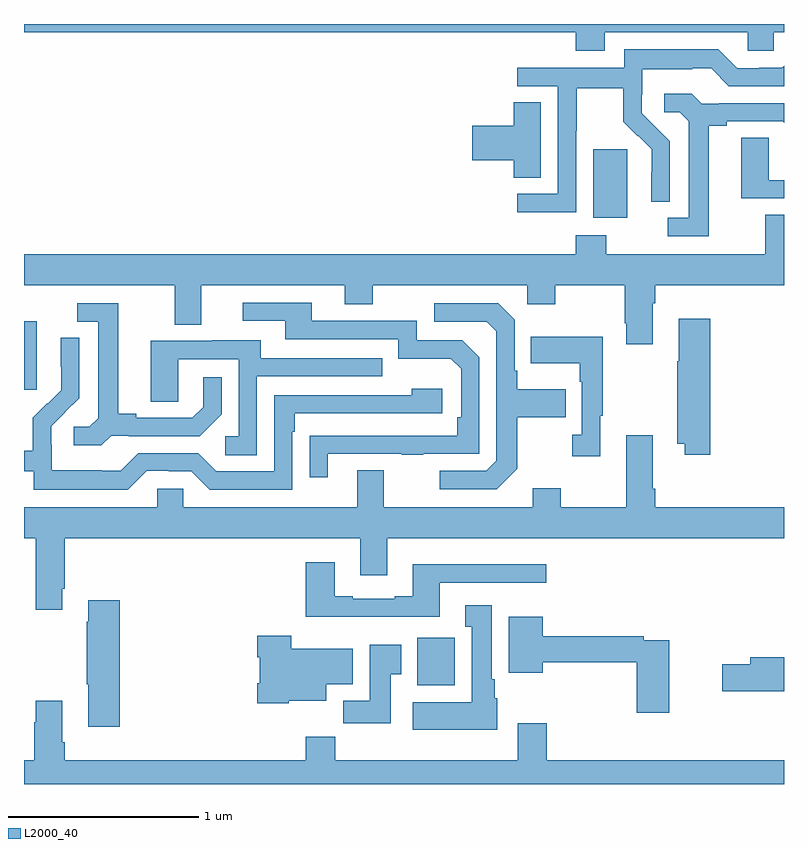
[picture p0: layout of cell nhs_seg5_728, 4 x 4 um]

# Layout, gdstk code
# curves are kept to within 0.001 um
import gdstk
lib = gdstk.Library(unit=1e-6, precision=1e-09)
def R(c, l, rs):  # rectangles x0, y0, x1, y1
    for r in rs: c.add(gdstk.rectangle(r[:2], r[2:], *l))
def P(c, l, *ps):  # polygons
    for p in ps: c.add(gdstk.Polygon(p, *l))
L2000_40 = (2000, 40)

nhs_seg5_728 = lib.new_cell('nhs_seg5_728')
R(nhs_seg5_728, L2000_40, [(159.071,857.318,159.267,857.569), (157,858.873,157.066,859.234), (159.995,859.778,160.174,860.139)])
P(nhs_seg5_728, L2000_40, [(160.057,860.756),(160.809,860.756),(160.809,860.658),(160.947,860.658),(160.947,860.756),(161,860.756),(161,860.799),(157,860.799),(157,860.756),(159.905,860.756),(159.905,860.657),(160.057,860.657)],
  [(159.906,860.236),(159.909,860.236),(159.909,860.46),(160.153,860.46),(160.153,860.285),(160.23,860.208),(160.233,860.211),(160.304,860.141),(160.304,860.018),(160.302,860.018),(160.302,859.864),(160.398,859.864),(160.398,860.182),(160.252,860.33),(160.252,860.427),(160.254,860.427),(160.254,860.561),(160.517,860.561),(160.517,860.565),(160.617,860.565),(160.71,860.472),(161,860.472),(161,860.579),(160.989,860.568),(160.871,860.568),(160.871,860.565),(160.755,860.565),(160.655,860.665),(160.158,860.665),(160.158,860.568),(159.597,860.568),(159.597,860.472),(159.81,860.472),(159.81,859.905),(159.597,859.905),(159.597,859.807),(159.906,859.807)],
  [(160.603,860.264),(160.699,860.264),(160.699,860.286),(160.994,860.286),(161,860.28),(161,860.382),(160.66,860.382),(160.66,860.379),(160.566,860.379),(160.514,860.431),(160.371,860.431),(160.371,860.334),(160.452,860.334),(160.499,860.287),(160.499,859.779),(160.389,859.779),(160.389,859.683),(160.603,859.683)],
  [(159.721,860.387),(159.578,860.387),(159.578,860.264),(159.36,860.264),(159.36,860.081),(159.578,860.081),(159.578,859.99),(159.721,859.99)],
  [(161,859.977),(160.92,859.977),(160.92,860.201),(160.775,860.201),(160.775,859.881),(161,859.881)],
  [(160.309,859.328),(160.322,859.328),(160.322,859.424),(161,859.424),(161,859.796),(160.901,859.796),(160.901,859.588),(160.065,859.588),(160.065,859.687),(159.905,859.687),(159.905,859.588),(157,859.588),(157,859.424),(157.793,859.424),(157.793,859.216),(157.933,859.216),(157.933,859.424),(158.687,859.424),(158.687,859.325),(158.835,859.325),(158.835,859.424),(159.648,859.424),(159.648,859.325),(159.795,859.325),(159.795,859.424),(160.162,859.424),(160.162,859.225),(160.169,859.225),(160.169,859.113),(160.309,859.113)],
  [(158.599,858.537),(158.989,858.537),(158.989,858.532),(159.101,858.532),(159.101,858.537),(159.396,858.537),(159.396,859.044),(159.306,859.134),(159.066,859.134),(159.066,859.236),(158.515,859.236),(158.515,859.332),(158.151,859.332),(158.151,859.236),(158.375,859.236),(158.375,859.14),(158.97,859.14),(158.97,859.037),(159.247,859.037),(159.3,858.984),(159.3,858.73),(159.28,858.73),(159.28,858.633),(158.503,858.632),(158.503,858.414),(158.599,858.414)],
  [(159.595,858.457),(159.595,858.73),(159.851,858.73),(159.851,858.877),(159.595,858.877),(159.595,858.973),(159.582,858.973),(159.582,859.242),(159.495,859.329),(159.159,859.329),(159.159,859.233),(159.435,859.233),(159.486,859.182),(159.486,858.501),(159.432,858.447),(159.189,858.447),(159.189,858.351),(159.489,858.351)],
  [(157.458,858.633),(157.552,858.633),(157.552,858.63),(157.924,858.63),(158.04,858.746),(158.04,858.94),(157.943,858.94),(157.943,858.783),(157.886,858.726),(157.591,858.726),(157.591,858.749),(157.495,858.749),(157.495,859.329),(157.281,859.329),(157.281,859.233),(157.391,859.233),(157.391,858.725),(157.344,858.678),(157.263,858.678),(157.263,858.581),(157.406,858.581)],
  [(160.613,859.249),(160.445,859.249),(160.445,859.025),(160.438,859.025),(160.438,858.59),(160.478,858.59),(160.478,858.531),(160.613,858.531)],
  [(160.033,858.737),(160.045,858.737),(160.045,859.153),(159.667,859.153),(159.667,859.013),(159.924,859.013),(159.924,858.917),(159.936,858.917),(159.936,858.638),(159.885,858.638),(159.885,858.525),(160.033,858.525)],
  [(157.647,858.447),(157.763,858.447),(157.763,858.444),(157.881,858.444),(157.977,858.348),(158.412,858.348),(158.412,858.653),(158.425,858.653),(158.425,858.75),(159.202,858.75),(159.202,858.88),(159.041,858.88),(159.041,858.846),(158.316,858.846),(158.316,858.444),(158.013,858.444),(157.917,858.54),(157.602,858.54),(157.509,858.447),(157.409,858.447),(157.409,858.451),(157.146,858.451),(157.146,858.585),(157.144,858.585),(157.144,858.682),(157.29,858.83),(157.29,859.148),(157.194,859.148),(157.194,858.994),(157.196,858.994),(157.196,858.872),(157.125,858.801),(157.122,858.804),(157.045,858.727),(157.045,858.553),(157,858.553),(157,858.444),(157.05,858.444),(157.05,858.347),(157.547,858.347)],
  [(158.226,858.945),(158.885,858.945),(158.885,859.041),(158.245,859.041),(158.245,859.135),(157.991,859.135),(157.991,859.131),(157.667,859.131),(157.667,858.811),(157.812,858.811),(157.812,859.035),(158.13,859.035),(158.13,858.63),(158.058,858.63),(158.058,858.529),(158.226,858.529)],
  [(157.201,857.827),(157.214,857.827),(157.214,858.092),(158.771,858.092),(158.771,857.898),(158.911,857.898),(158.911,858.092),(161,858.092),(161,858.256),(160.322,858.256),(160.322,858.352),(160.309,858.352),(160.309,858.634),(160.169,858.634),(160.169,858.256),(159.825,858.256),(159.825,858.355),(159.677,858.355),(159.677,858.256),(158.893,858.256),(158.893,858.451),(158.753,858.451),(158.753,858.256),(157.839,858.256),(157.839,858.354),(157.701,858.354),(157.701,858.256),(157,858.256),(157,858.092),(157.061,858.092),(157.061,857.715),(157.201,857.715)],
  [(159.187,857.859),(159.748,857.859),(159.748,857.956),(159.047,857.956),(159.047,857.788),(158.951,857.788),(158.951,857.775),(158.731,857.775),(158.731,857.788),(158.635,857.788),(158.635,857.965),(158.483,857.965),(158.483,857.678),(159.187,857.678)],
  [(157.505,857.767),(157.337,857.767),(157.337,857.654),(157.33,857.654),(157.33,857.323),(157.337,857.323),(157.337,857.1),(157.505,857.1)],
  [(159.49,857.25),(159.478,857.25),(159.478,857.35),(159.463,857.35),(159.463,857.74),(159.323,857.74),(159.323,857.627),(159.356,857.627),(159.356,857.23),(159.047,857.23),(159.047,857.084),(159.49,857.084)],
  [(160.396,857.556),(160.262,857.556),(160.262,857.576),(159.73,857.576),(159.73,857.68),(159.551,857.68),(159.551,857.384),(159.73,857.384),(159.73,857.44),(160.226,857.44),(160.226,857.175),(160.396,857.175)],
  [(158.394,857.237),(158.59,857.237),(158.59,857.324),(158.731,857.324),(158.731,857.512),(158.406,857.512),(158.406,857.578),(158.228,857.578),(158.228,857.465),(158.24,857.465),(158.24,857.329),(158.228,857.329),(158.228,857.225),(158.394,857.225)],
  [(158.929,857.377),(158.986,857.377),(158.986,857.533),(158.819,857.533),(158.819,857.236),(158.68,857.236),(158.68,857.118),(158.929,857.118)],
  [(161,857.465),(160.823,857.465),(160.823,857.429),(160.674,857.429),(160.674,857.287),(161,857.287)],
  [(161,856.924),(159.752,856.924),(159.752,857.119),(159.599,857.119),(159.599,856.924),(158.639,856.924),(158.639,857.048),(158.483,857.048),(158.483,856.924),(157.214,856.924),(157.214,857.02),(157.201,857.02),(157.201,857.236),(157.061,857.236),(157.061,857.123),(157.054,857.123),(157.054,856.924),(157,856.924),(157,856.799),(161,856.799)])

lib.write_gds('nhs_seg5_728.gds')
